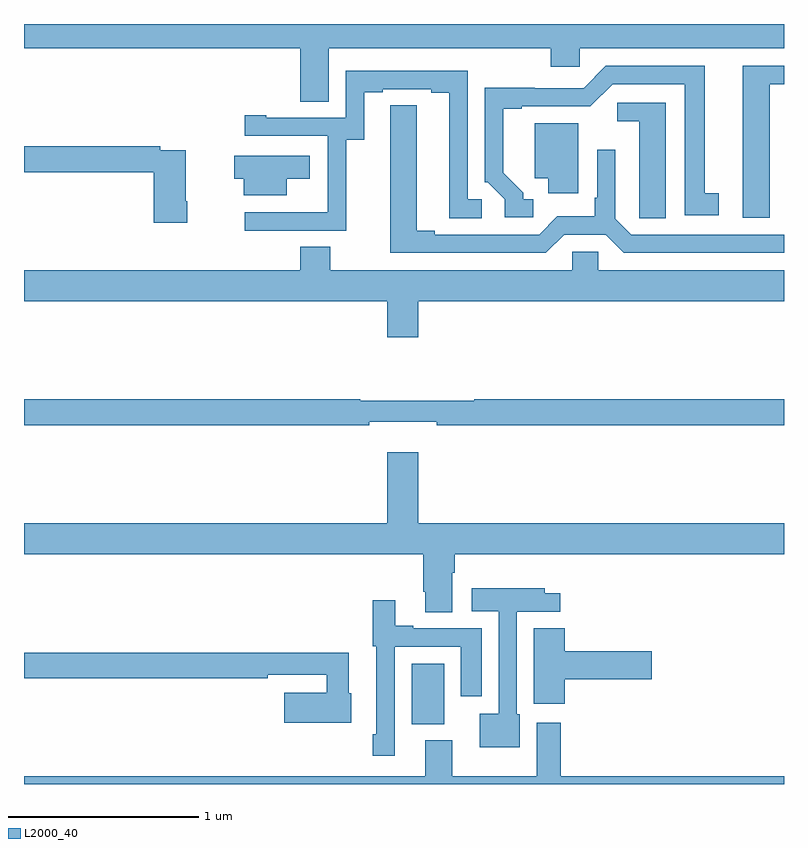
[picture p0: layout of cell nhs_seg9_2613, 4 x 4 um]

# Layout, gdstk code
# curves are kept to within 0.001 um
import gdstk
lib = gdstk.Library(unit=1e-6, precision=1e-09)
def R(c, l, rs):  # rectangles x0, y0, x1, y1
    for r in rs: c.add(gdstk.rectangle(r[:2], r[2:], *l))
def P(c, l, *ps):  # polygons
    for p in ps: c.add(gdstk.Polygon(p, *l))
L2000_40 = (2000, 40)

nhs_seg9_2613 = lib.new_cell('nhs_seg9_2613')
R(nhs_seg9_2613, L2000_40, [(261.041,1240.814,261.211,1241.134)])
P(nhs_seg9_2613, L2000_40, [(260.605,1244.372),(261.773,1244.372),(261.773,1244.274),(261.924,1244.274),(261.924,1244.372),(263,1244.372),(263,1244.5),(259,1244.5),(259,1244.372),(260.453,1244.372),(260.453,1244.092),(260.605,1244.092)],
  [(261.679,1243.578),(261.628,1243.578),(261.628,1243.613),(261.523,1243.718),(261.523,1244.055),(261.619,1244.055),(261.619,1244.067),(261.981,1244.067),(262.098,1244.184),(262.478,1244.184),(262.478,1243.494),(262.657,1243.494),(262.657,1243.61),(262.582,1243.61),(262.582,1244.28),(262.062,1244.28),(261.945,1244.163),(261.689,1244.163),(261.689,1244.165),(261.426,1244.165),(261.426,1243.668),(261.441,1243.668),(261.531,1243.578),(261.531,1243.482),(261.679,1243.482)],
  [(262.924,1244.184),(263,1244.184),(263,1244.28),(262.784,1244.28),(262.784,1243.479),(262.924,1243.479)],
  [(260.697,1243.891),(260.791,1243.891),(260.791,1244.142),(260.887,1244.142),(260.887,1244.157),(261.143,1244.157),(261.143,1244.137),(261.239,1244.137),(261.239,1243.477),(261.409,1243.477),(261.409,1243.578),(261.336,1243.578),(261.336,1244.253),(260.694,1244.253),(260.694,1244.007),(260.275,1244.007),(260.275,1244.02),(260.163,1244.02),(260.163,1243.911),(260.598,1243.911),(260.598,1243.51),(260.597,1243.51),(260.597,1243.509),(260.163,1243.509),(260.163,1243.413),(260.697,1243.413)],
  [(262.378,1244.085),(262.122,1244.085),(262.122,1243.988),(262.238,1243.988),(262.238,1243.585),(262.239,1243.585),(262.239,1243.477),(262.378,1243.477)],
  [(261.843,1243.392),(262.061,1243.392),(262.157,1243.296),(263,1243.296),(263,1243.392),(262.197,1243.392),(262.113,1243.476),(262.113,1243.837),(262.017,1243.837),(262.017,1243.585),(262.005,1243.585),(262.005,1243.488),(261.807,1243.488),(261.711,1243.392),(261.163,1243.392),(261.163,1243.412),(261.067,1243.412),(261.067,1244.072),(260.928,1244.072),(260.927,1243.296),(261.747,1243.296)],
  [(261.916,1243.978),(261.689,1243.978),(261.689,1243.688),(261.758,1243.688),(261.758,1243.608),(261.916,1243.608)],
  [(259.86,1243.567),(259.852,1243.567),(259.852,1243.836),(259.718,1243.836),(259.718,1243.856),(259,1243.856),(259,1243.72),(259.682,1243.72),(259.682,1243.455),(259.86,1243.455)],
  [(260.383,1243.685),(260.503,1243.685),(260.503,1243.807),(260.106,1243.807),(260.106,1243.685),(260.156,1243.685),(260.156,1243.598),(260.383,1243.598)],
  [(261.076,1243.04),(263,1243.04),(263,1243.204),(262.023,1243.204),(262.023,1243.302),(261.885,1243.302),(261.885,1243.204),(260.613,1243.204),(260.613,1243.328),(260.453,1243.328),(260.453,1243.204),(259,1243.204),(259,1243.04),(260.912,1243.04),(260.912,1242.852),(261.076,1242.852)],
  [(260.816,1242.407),(261.172,1242.407),(261.172,1242.388),(263,1242.388),(263,1242.524),(261.37,1242.524),(261.37,1242.517),(260.77,1242.517),(260.77,1242.524),(259,1242.524),(259,1242.388),(260.816,1242.388)],
  [(261.253,1241.612),(261.266,1241.612),(261.266,1241.708),(263,1241.708),(263,1241.872),(261.076,1241.872),(261.076,1242.247),(260.912,1242.247),(260.912,1241.872),(259,1241.872),(259,1241.708),(261.101,1241.708),(261.101,1241.512),(261.113,1241.512),(261.113,1241.404),(261.253,1241.404)],
  [(261.61,1240.866),(261.594,1240.866),(261.594,1241.406),(261.823,1241.406),(261.823,1241.504),(261.741,1241.504),(261.741,1241.53),(261.357,1241.53),(261.357,1241.408),(261.498,1241.408),(261.498,1240.87),(261.398,1240.87),(261.398,1240.694),(261.61,1240.694)],
  [(260.952,1241.223),(261.299,1241.223),(261.299,1240.962),(261.409,1240.962),(261.409,1241.319),(261.049,1241.319),(261.049,1241.332),(260.953,1241.332),(260.953,1241.467),(260.836,1241.467),(260.836,1241.226),(260.855,1241.226),(260.855,1240.762),(260.836,1240.762),(260.836,1240.65),(260.952,1240.65)],
  [(261.845,1241.051),(262.303,1241.051),(262.303,1241.198),(261.845,1241.198),(261.845,1241.321),(261.683,1241.321),(261.683,1240.923),(261.845,1240.923)],
  [(260.722,1240.977),(260.71,1240.977),(260.71,1241.192),(259,1241.192),(259,1241.056),(260.282,1241.056),(260.282,1241.076),(260.593,1241.076),(260.593,1240.981),(260.37,1240.981),(260.37,1240.823),(260.722,1240.823)],
  [(261.113,1240.729),(261.113,1240.54),(259,1240.54),(259,1240.5),(263,1240.5),(263,1240.54),(261.824,1240.54),(261.824,1240.822),(261.698,1240.822),(261.698,1240.54),(261.253,1240.54),(261.253,1240.729)])

lib.write_gds('nhs_seg9_2613.gds')
